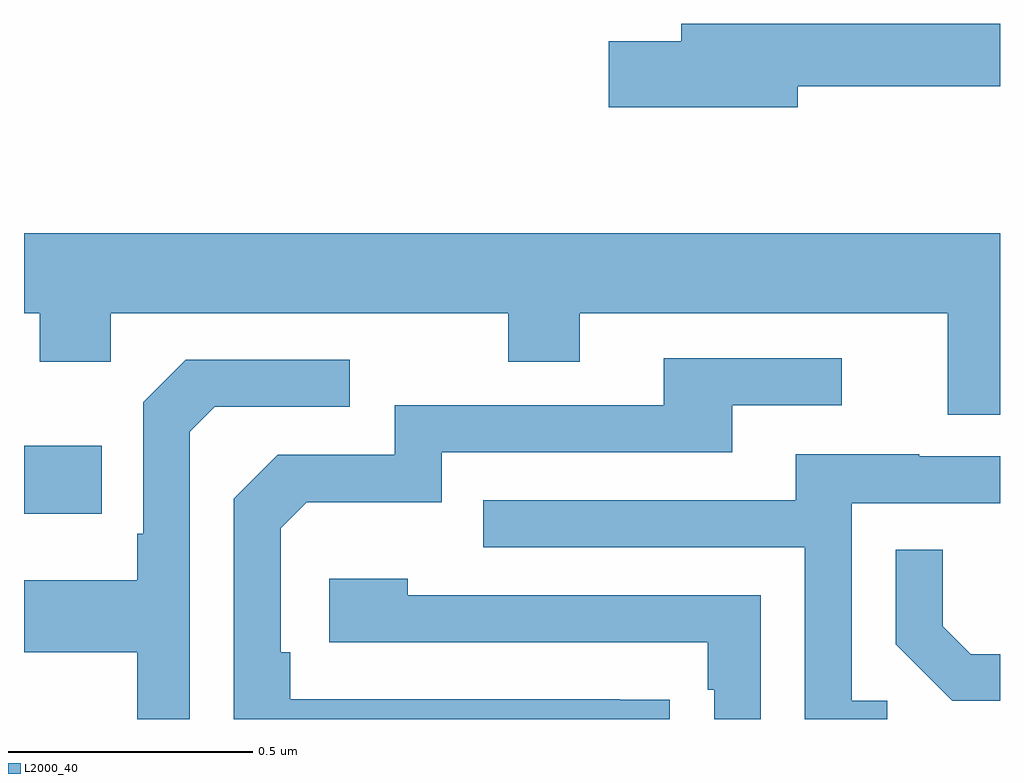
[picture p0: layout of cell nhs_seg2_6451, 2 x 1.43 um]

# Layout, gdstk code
import gdstk
lib = gdstk.Library(unit=1e-6, precision=1e-09)
def R(c, l, rs):  # rectangles x0, y0, x1, y1
    for r in rs: c.add(gdstk.rectangle(r[:2], r[2:], *l))
def P(c, l, *ps):  # polygons
    for p in ps: c.add(gdstk.Polygon(p, *l))
L2000_40 = (2000, 40)

nhs_seg2_6451 = lib.new_cell('nhs_seg2_6451')
R(nhs_seg2_6451, L2000_40, [(191,651.221,191.159,651.361)])
P(nhs_seg2_6451, L2000_40, [(192.586,652.098),(193,652.098),(193,652.226),(192.347,652.226),(192.347,652.19),(192.198,652.19),(192.198,652.055),(192.586,652.055)],
  [(191,651.632),(191.032,651.632),(191.032,651.533),(191.178,651.533),(191.178,651.632),(191.992,651.632),(191.992,651.533),(192.139,651.533),(192.139,651.632),(192.893,651.632),(192.893,651.424),(193,651.424),(193,651.796),(191,651.796)],
  [(192.323,650.84),(192.221,650.84),(192.221,650.841),(191.546,650.841),(191.546,650.938),(191.526,650.938),(191.526,651.192),(191.579,651.245),(191.856,651.245),(191.856,651.348),(192.451,651.348),(192.451,651.444),(192.676,651.444),(192.676,651.54),(192.311,651.54),(192.311,651.444),(191.76,651.444),(191.76,651.342),(191.52,651.342),(191.43,651.252),(191.43,650.8),(192.323,650.8)],
  [(191.34,651.39),(191.391,651.441),(191.668,651.441),(191.668,651.537),(191.331,651.537),(191.244,651.45),(191.244,651.181),(191.232,651.181),(191.232,651.085),(191,651.085),(191,650.938),(191.232,650.938),(191.232,650.8),(191.34,650.8)],
  [(192.769,650.838),(192.696,650.838),(192.696,651.243),(193,651.243),(193,651.339),(192.835,651.339),(192.835,651.343),(192.581,651.343),(192.581,651.249),(191.941,651.249),(191.941,651.153),(192.6,651.153),(192.6,650.8),(192.769,650.8)],
  [(193,650.934),(192.94,650.934),(192.883,650.991),(192.883,651.148),(192.786,651.148),(192.786,650.954),(192.902,650.838),(193,650.838)],
  [(192.51,651.054),(191.786,651.054),(191.786,651.088),(191.625,651.088),(191.625,650.958),(192.401,650.958),(192.401,650.861),(192.414,650.861),(192.414,650.8),(192.51,650.8)])

lib.write_gds('nhs_seg2_6451.gds')
